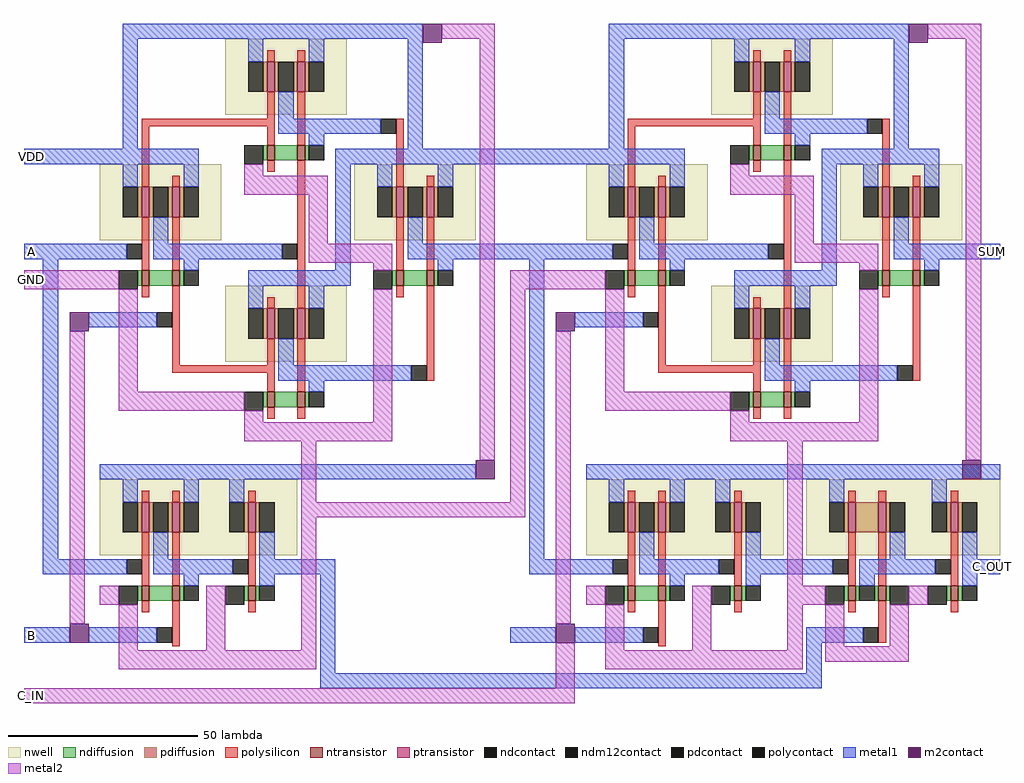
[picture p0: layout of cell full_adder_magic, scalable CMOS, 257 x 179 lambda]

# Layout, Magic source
magic
tech scmos
<< metal1 >>
rect 107 133 140 137
rect 78 -1 82 29
rect 206 -1 210 7
rect 78 -5 210 -1
<< metal2 >>
rect 128 44 132 100
rect 73 40 132 44
rect 204 17 211 22
rect 140 -5 145 7
rect 0 -9 145 -5
use half_adder_magic  half_adder_magic_1
transform 1 0 148 0 1 60
box -20 -60 109 110
use or_magic  or_magic_0
transform 1 0 208 0 1 0
box -2 2 49 54
use half_adder_magic  half_adder_magic_0
transform 1 0 20 0 1 60
box -20 -60 109 110
<< labels >>
rlabel space 0 133 4 137 3 VDD
rlabel space 0 108 4 112 3 A
rlabel space 0 7 4 11 3 B
rlabel metal2 0 -9 4 -5 2 C_IN
rlabel space 0 100 4 105 3 GND
rlabel space 253 108 257 112 7 SUM
rlabel space 253 25 257 29 7 C_OUT
<< end >>

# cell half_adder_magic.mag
magic
tech scmos
<< metal1 >>
rect -20 73 0 77
rect -20 48 3 52
rect 93 48 109 52
rect -15 -31 -11 48
rect -3 30 2 34
rect 51 -10 99 -6
rect -15 -35 3 -31
rect 49 -35 62 -31
rect -20 -53 -8 -49
rect -3 -53 2 -49
<< m2contact >>
rect 85 105 90 110
rect -8 29 -3 34
rect 99 -10 104 -5
rect -8 -53 -3 -48
<< metal2 >>
rect 90 106 104 110
rect -20 40 0 45
rect -8 -48 -4 29
rect 53 -55 57 1
rect 100 -5 104 106
rect 33 -60 57 -55
use xor_magic  xor_magic_0
transform 1 0 0 0 1 53
box 0 -53 99 57
use and_magic  and_magic_0
transform 1 0 0 0 1 -49
box 0 -11 52 43
<< labels >>
rlabel metal1 -20 73 -16 77 3 VDD
rlabel metal1 -20 48 -16 52 3 A
rlabel metal2 -20 40 -16 45 3 GND
rlabel metal1 105 48 109 52 7 SUM
rlabel metal1 58 -35 62 -31 1 CARRY
rlabel metal1 -20 -53 -16 -49 3 B
<< end >>

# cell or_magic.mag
magic
tech scmos
use nor_magic  nor_magic_0
transform 1 0 -2 0 1 30
box 0 -28 32 24
use inverter_magic  inverter_magic_0
transform 1 0 25 0 1 30
box 0 -15 24 24
<< end >>

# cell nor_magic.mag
magic
tech scmos
<< nwell >>
rect 0 0 32 20
<< ntransistor >>
rect 11 -12 13 -8
rect 19 -12 21 -8
<< ptransistor >>
rect 11 6 13 14
rect 19 6 21 14
<< ndiffusion >>
rect 10 -12 11 -8
rect 13 -12 14 -8
rect 18 -12 19 -8
rect 21 -12 22 -8
<< pdiffusion >>
rect 10 6 11 14
rect 13 6 19 14
rect 21 6 22 14
<< ndcontact >>
rect 14 -12 18 -8
<< pdcontact >>
rect 6 6 10 14
rect 22 6 26 14
<< polysilicon >>
rect 11 14 13 17
rect 19 14 21 17
rect 11 -8 13 6
rect 19 -8 21 6
rect 11 -15 13 -12
rect 19 -23 21 -12
<< polycontact >>
rect 7 -5 11 -1
rect 15 -23 19 -19
<< metal1 >>
rect 0 20 32 24
rect 6 14 10 20
rect 22 -1 26 6
rect 0 -5 7 -1
rect 14 -5 32 -1
rect 14 -8 18 -5
rect 0 -23 15 -19
<< ndm12contact >>
rect 5 -13 10 -8
rect 22 -13 27 -8
<< metal2 >>
rect 0 -13 5 -8
rect 5 -24 10 -13
rect 22 -24 27 -13
rect 5 -28 27 -24
<< labels >>
rlabel metal1 0 20 32 24 5 VDD
rlabel metal2 0 -13 5 -8 3 GND
rlabel metal1 0 -5 4 -1 3 A
rlabel metal1 0 -23 4 -19 3 B
rlabel metal1 28 -5 32 -1 7 OUTPUT
<< end >>

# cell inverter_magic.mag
magic
tech scmos
<< nwell >>
rect 0 0 24 20
<< ntransistor >>
rect 11 -12 13 -8
<< ptransistor >>
rect 11 6 13 14
<< ndiffusion >>
rect 10 -12 11 -8
rect 13 -12 14 -8
<< pdiffusion >>
rect 10 6 11 14
rect 13 6 14 14
<< ndcontact >>
rect 14 -12 18 -8
<< pdcontact >>
rect 6 6 10 14
rect 14 6 18 14
<< polysilicon >>
rect 11 14 13 17
rect 11 -8 13 6
rect 11 -15 13 -12
<< polycontact >>
rect 7 -5 11 -1
<< metal1 >>
rect 0 20 24 24
rect 6 14 10 20
rect 14 -1 18 6
rect 0 -5 7 -1
rect 14 -5 24 -1
rect 14 -8 18 -5
<< ndm12contact >>
rect 5 -13 10 -8
<< metal2 >>
rect 0 -13 5 -8
<< labels >>
rlabel metal1 0 20 24 24 5 VDD
rlabel metal2 0 -13 5 -8 2 GND
rlabel metal1 0 -5 7 -1 3 INPUT
rlabel metal1 18 -5 24 -1 1 OUTPUT
<< end >>

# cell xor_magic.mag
magic
tech scmos
<< nwell >>
rect 33 33 65 53
rect 0 0 32 20
rect 67 0 99 20
rect 33 -32 65 -12
<< ntransistor >>
rect 44 21 46 25
rect 52 21 54 25
rect 11 -12 13 -8
rect 19 -12 21 -8
rect 78 -12 80 -8
rect 86 -12 88 -8
rect 44 -44 46 -40
rect 52 -44 54 -40
<< ptransistor >>
rect 44 39 46 47
rect 52 39 54 47
rect 11 6 13 14
rect 19 6 21 14
rect 78 6 80 14
rect 86 6 88 14
rect 44 -26 46 -18
rect 52 -26 54 -18
<< ndiffusion >>
rect 43 21 44 25
rect 46 21 52 25
rect 54 21 55 25
rect 10 -12 11 -8
rect 13 -12 19 -8
rect 21 -12 22 -8
rect 77 -12 78 -8
rect 80 -12 86 -8
rect 88 -12 89 -8
rect 43 -44 44 -40
rect 46 -44 52 -40
rect 54 -44 55 -40
<< pdiffusion >>
rect 43 39 44 47
rect 46 39 47 47
rect 51 39 52 47
rect 54 39 55 47
rect 10 6 11 14
rect 13 6 14 14
rect 18 6 19 14
rect 21 6 22 14
rect 77 6 78 14
rect 80 6 81 14
rect 85 6 86 14
rect 88 6 89 14
rect 43 -26 44 -18
rect 46 -26 47 -18
rect 51 -26 52 -18
rect 54 -26 55 -18
<< ndcontact >>
rect 55 21 59 25
rect 22 -12 26 -8
rect 89 -12 93 -8
rect 55 -44 59 -40
<< pdcontact >>
rect 39 39 43 47
rect 47 39 51 47
rect 55 39 59 47
rect 6 6 10 14
rect 14 6 18 14
rect 22 6 26 14
rect 73 6 77 14
rect 81 6 85 14
rect 89 6 93 14
rect 39 -26 43 -18
rect 47 -26 51 -18
rect 55 -26 59 -18
<< polysilicon >>
rect 44 47 46 50
rect 52 47 54 50
rect 44 32 46 39
rect 11 30 46 32
rect 11 14 13 30
rect 44 25 46 30
rect 52 25 54 39
rect 44 18 46 21
rect 19 14 21 17
rect 11 -8 13 6
rect 19 -8 21 6
rect 11 -15 13 -12
rect 19 -33 21 -12
rect 44 -18 46 -15
rect 52 -18 54 21
rect 78 14 80 32
rect 86 14 88 17
rect 78 -8 80 6
rect 86 -8 88 6
rect 78 -15 80 -12
rect 44 -33 46 -26
rect 19 -35 46 -33
rect 44 -40 46 -35
rect 52 -40 54 -26
rect 86 -37 88 -12
rect 44 -47 46 -44
rect 52 -47 54 -44
<< polycontact >>
rect 74 28 78 32
rect 7 -5 11 -1
rect 48 -5 52 -1
rect 15 -23 19 -19
rect 82 -37 86 -33
<< metal1 >>
rect 6 53 85 57
rect 6 24 10 53
rect 39 47 43 53
rect 55 47 59 53
rect 47 32 51 39
rect 47 28 74 32
rect 55 25 59 28
rect 0 20 26 24
rect 81 24 85 53
rect 62 20 93 24
rect 6 14 10 20
rect 22 14 26 20
rect 14 -1 18 6
rect 0 -5 7 -1
rect 14 -5 48 -1
rect 22 -8 26 -5
rect 62 -8 66 20
rect 73 14 77 20
rect 89 14 93 20
rect 81 -1 85 6
rect 81 -5 99 -1
rect 89 -8 93 -5
rect 39 -12 66 -8
rect 39 -18 43 -12
rect 55 -18 59 -12
rect 0 -23 15 -19
rect 47 -33 51 -26
rect 47 -37 82 -33
rect 55 -40 59 -37
<< ndm12contact >>
rect 38 20 43 25
rect 5 -13 10 -8
rect 72 -13 77 -8
rect 38 -45 43 -40
<< metal2 >>
rect 38 17 43 20
rect 38 12 60 17
rect 55 -1 60 12
rect 55 -6 77 -1
rect 72 -8 77 -6
rect 0 -13 5 -8
rect 5 -40 10 -13
rect 5 -45 38 -40
rect 38 -48 43 -45
rect 72 -48 77 -13
rect 38 -53 77 -48
<< labels >>
rlabel metal1 0 -5 7 -1 3 A
rlabel metal1 0 20 6 24 3 VDD
rlabel metal2 0 -13 5 -8 3 GND
rlabel metal1 0 -23 5 -19 3 B
rlabel metal1 93 -5 99 -1 7 OUTPUT
<< end >>

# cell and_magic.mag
magic
tech scmos
<< metal2 >>
rect 5 -6 10 6
rect 28 -6 33 6
rect 5 -11 33 -6
use inverter_magic  inverter_magic_0
transform 1 0 28 0 1 19
box 0 -15 24 24
use nand_magic  nand_magic_0
transform 1 0 0 0 1 19
box 0 -24 32 24
<< end >>

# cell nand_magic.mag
magic
tech scmos
<< nwell >>
rect 0 0 32 20
<< ntransistor >>
rect 11 -12 13 -8
rect 19 -12 21 -8
<< ptransistor >>
rect 11 6 13 14
rect 19 6 21 14
<< ndiffusion >>
rect 10 -12 11 -8
rect 13 -12 19 -8
rect 21 -12 22 -8
<< pdiffusion >>
rect 10 6 11 14
rect 13 6 14 14
rect 18 6 19 14
rect 21 6 22 14
<< ndcontact >>
rect 22 -12 26 -8
<< pdcontact >>
rect 6 6 10 14
rect 14 6 18 14
rect 22 6 26 14
<< polysilicon >>
rect 11 14 13 17
rect 19 14 21 17
rect 11 -8 13 6
rect 19 -8 21 6
rect 11 -15 13 -12
rect 19 -24 21 -12
<< polycontact >>
rect 7 -5 11 -1
rect 15 -23 19 -19
<< metal1 >>
rect 0 20 32 24
rect 6 14 10 20
rect 22 14 26 20
rect 14 -1 18 6
rect 0 -5 7 -1
rect 14 -5 32 -1
rect 22 -8 26 -5
rect 0 -23 15 -19
<< ndm12contact >>
rect 5 -13 10 -8
<< metal2 >>
rect 0 -13 5 -8
<< labels >>
rlabel metal1 0 20 32 24 5 VDD
rlabel metal1 28 -5 32 -1 7 OUTPUT
rlabel metal1 0 -23 15 -19 1 B
rlabel metal2 0 -13 5 -8 3 GND
rlabel metal1 0 -5 7 -1 3 A
<< end >>
